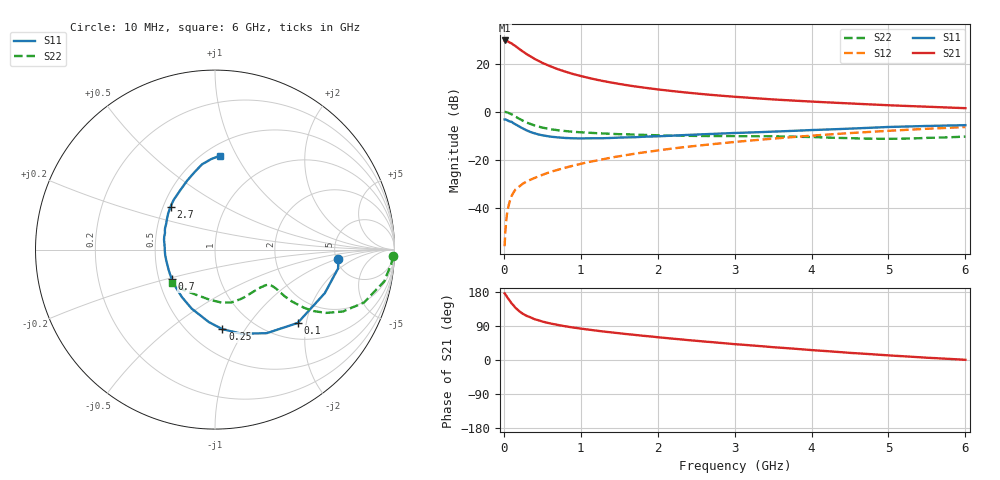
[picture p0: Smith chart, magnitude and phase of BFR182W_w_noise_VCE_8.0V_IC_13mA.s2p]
! Infineon Technologies  Discrete & RF Semiconductors
! BFR182W
! VCE =  8.0 V,  IC =  13 mA
! Common Emitter S-Parameters:  Jan 2017
# GHz  S  MA  R  50
!  f  S11  S21  S12  S22
! GHz  MAG  ANG  MAG  ANG  MAG  ANG  MAG  ANG
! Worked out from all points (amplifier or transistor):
!   77 points, 10 MHz to 6 GHz, reference 50 ohm
!   highest |S21| = 29.6 dB at 10 MHz (marker M1)
!   |S21| within 3 dB of that: start of sweep to 178.3 MHz
!   unconditionally stable (mu >= 1): 981.9 MHz to 2.555 GHz
!   at 130 MHz: K = 0.33, MSG = 30.5 dB, |S12| = -33.4 dB
!   at 2.2 GHz: K = 1.02, MAG = 11.1 dB, |S12| = -15.3 dB
!   at 6 GHz: K = 0.86, MSG = 3.9 dB, |S12| = -6.4 dB
!   lowest NFmin = 1.17 dB at 450 MHz
!   S11 on the Smith chart (normalised r, x): 10 MHz: 5.21, -1.02; 100 MHz: 1.35, -1.78; 250 MHz: 0.72, -0.79; 700 MHz: 0.58, -0.21; 2.7 GHz: 0.55, +0.30; 6 GHz: 0.59, +0.86
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0.01  0.6882 -4.3  30.17 175.9  0.0016 90.7  0.9919 -2.1
0.02  0.6939 -8.7  30.13 173.1  0.0033 94.0  0.9864 -4.5
0.05  0.6581 -21.6  28.97 163.7  0.0092 81.0  0.9588 -10.7
0.1  0.6159 -41.6  26.28 149.6  0.0175 73.3  0.8814 -19.5
0.15  0.5473 -58.3  23.08 138.0  0.024 67.4  0.7923 -25.8
0.2  0.4911 -72.6  20.13 128.8  0.0277 65.3  0.7119 -29.7
0.25  0.4451 -84.7  17.68 121.6  0.0321 62.9  0.6456 -32.0
0.3  0.4055 -94.8  15.55 116.1  0.0355 62.6  0.5903 -33.2
0.4  0.354 -111.4  12.49 107.6  0.0419 62.1  0.5154 -34.0
0.5  0.3227 -124.8  10.34 101.5  0.0485 63.0  0.4662 -33.8
0.6  0.3032 -136.1  8.819 96.6  0.0556 64.3  0.4339 -33.2
0.7  0.292 -145.7  7.653 92.6  0.0617 65.6  0.4111 -32.7
0.9  0.2793 -160.6  6.058 85.7  0.0752 66.9  0.3821 -32.5
1.1  0.2792 -172.9  5.032 80.2  0.0897 67.6  0.3649 -32.9
1.3  0.2806 177.1  4.297 75.1  0.1034 67.9  0.3518 -34.1
1.5  0.2891 169.2  3.764 70.6  0.1183 67.9  0.3405 -36.2
2.1  0.312 149.9  2.781 58.2  0.1639 65.7  0.3202 -45.2
2.7  0.3441 135.9  2.23 47.2  0.21 62.3  0.3116 -57.0
3.1  0.3644 127.6  1.987 40.4  0.2423 59.6  0.3091 -65.0
4.1  0.4195 110.6  1.59 24.8  0.3247 51.7  0.2932 -85.3
5.1  0.4848 97.4  1.339 11.0  0.4076 42.5  0.2732 -114.9
6  0.5241 87.1  1.181 0.5  0.4795 33.6  0.3035 -142.0
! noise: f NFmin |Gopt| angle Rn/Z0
0.45  1.17  0.04  108  0.14
0.9  1.26  0.05  122  0.14
1.9  1.73  0.23  -151  0.14
2.4  2  0.22  -136  0.21
